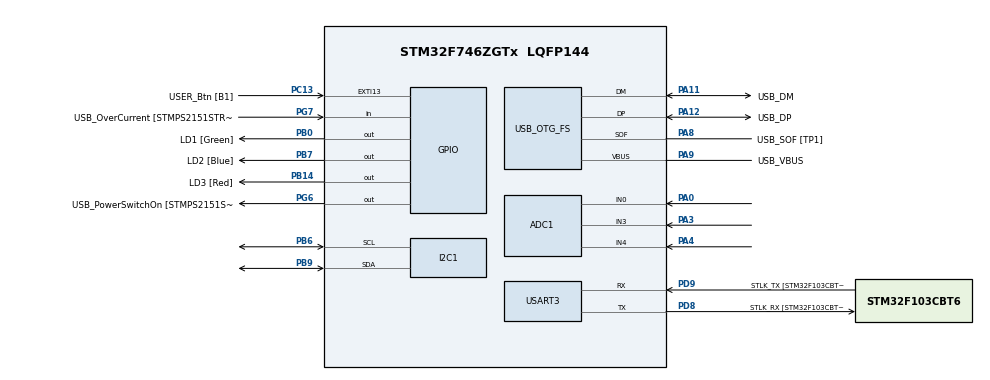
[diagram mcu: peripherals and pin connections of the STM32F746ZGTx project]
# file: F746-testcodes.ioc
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ADC1.Channel-0\#ChannelRegularConversion=ADC_CHANNEL_0
ADC1.Channel-1\#ChannelRegularConversion=ADC_CHANNEL_3
ADC1.Channel-2\#ChannelRegularConversion=ADC_CHANNEL_4
ADC1.ContinuousConvMode=ENABLE
ADC1.DMAContinuousRequests=ENABLE
ADC1.NbrOfConversion=3
ADC1.NbrOfConversionFlag=1
ADC1.Rank-0\#ChannelRegularConversion=1
ADC1.Rank-1\#ChannelRegularConversion=2
ADC1.Rank-2\#ChannelRegularConversion=3
ADC1.SamplingTime-0\#ChannelRegularConversion=ADC_SAMPLETIME_144CYCLES
ADC1.SamplingTime-1\#ChannelRegularConversion=ADC_SAMPLETIME_144CYCLES
ADC1.SamplingTime-2\#ChannelRegularConversion=ADC_SAMPLETIME_144CYCLES
ADC1.master=1
Dma.ADC1.0.Direction=DMA_PERIPH_TO_MEMORY
Dma.ADC1.0.FIFOMode=DMA_FIFOMODE_DISABLE
Dma.ADC1.0.Instance=DMA2_Stream0
Dma.ADC1.0.MemDataAlignment=DMA_MDATAALIGN_HALFWORD
Dma.ADC1.0.MemInc=DMA_MINC_ENABLE
Dma.ADC1.0.Mode=DMA_CIRCULAR
Dma.ADC1.0.PeriphDataAlignment=DMA_PDATAALIGN_HALFWORD
Dma.ADC1.0.PeriphInc=DMA_PINC_DISABLE
Dma.ADC1.0.Priority=DMA_PRIORITY_LOW
Dma.Request0=ADC1
I2C1.Timing=0x00808CD2
Mcu.Family=STM32F7
Mcu.Name=STM32F746ZGTx
Mcu.Package=LQFP144
NVIC.DMA2_Stream0_IRQn=true\:0\:0\:false\:false\:true\:false\:true\:true
NVIC.PriorityGroup=NVIC_PRIORITYGROUP_4
PA0/WKUP.Signal=ADCx_IN0
PA1.GPIO_Label=RMII_REF_CLK [LAN8742A-CZ-TR_REFCLK0]
PA1.Signal=ETH_REF_CLK
PA10.GPIO_Label=USB_ID
PA10.Signal=USB_OTG_FS_ID
PA11.GPIO_Label=USB_DM
PA11.Mode=Device_Only
PA11.Signal=USB_OTG_FS_DM
PA12.GPIO_Label=USB_DP
PA12.Mode=Device_Only
PA12.Signal=USB_OTG_FS_DP
PA13.GPIO_Label=TMS
PA13.Mode=Serial_Wire
PA13.Signal=SYS_JTMS-SWDIO
PA14.GPIO_Label=TCK
PA14.Mode=Serial_Wire
PA14.Signal=SYS_JTCK-SWCLK
PA2.GPIO_Label=RMII_MDIO [LAN8742A-CZ-TR_MDIO]
PA2.Signal=ETH_MDIO
PA3.Signal=ADCx_IN3
PA4.Signal=ADCx_IN4
PA7.GPIO_Label=RMII_CRS_DV [LAN8742A-CZ-TR_CRS_DV]
PA7.Signal=ETH_CRS_DV
PA8.GPIO_Label=USB_SOF [TP1]
PA8.Mode=Activate_SOF_FS
PA8.Signal=USB_OTG_FS_SOF
PA9.GPIO_Label=USB_VBUS
PA9.Mode=Activate_VBUS
PA9.Signal=USB_OTG_FS_VBUS
PB0.GPIO_Label=LD1 [Green]
PB0.Signal=GPIO_Output
PB13.GPIO_Label=RMII_TXD1 [LAN8742A-CZ-TR_TXD1]
PB13.Signal=ETH_TXD1
PB14.GPIO_Label=LD3 [Red]
PB14.Signal=GPIO_Output
PB3.GPIO_Label=SW0
PB3.Signal=SYS_JTDO-SWO
PB6.Mode=I2C
PB6.Signal=I2C1_SCL
PB7.GPIO_Label=LD2 [Blue]
PB7.Signal=GPIO_Output
PB9.Mode=I2C
PB9.Signal=I2C1_SDA
PC1.GPIO_Label=RMII_MDC [LAN8742A-CZ-TR_MDC]
PC1.Signal=ETH_MDC
PC13.GPIO_Label=USER_Btn [B1]
PC13.Signal=GPXTI13
PC14/OSC32_IN.Mode=LSE-External-Oscillator
PC14/OSC32_IN.Signal=RCC_OSC32_IN
PC15/OSC32_OUT.Mode=LSE-External-Oscillator
PC15/OSC32_OUT.Signal=RCC_OSC32_OUT
PC4.GPIO_Label=RMII_RXD0 [LAN8742A-CZ-TR_RXD0]
PC4.Signal=ETH_RXD0
PC5.GPIO_Label=RMII_RXD1 [LAN8742A-CZ-TR_RXD1]
PC5.Signal=ETH_RXD1
PD8.GPIO_Label=STLK_RX [STM32F103CBT6_PA3]
PD8.Mode=Asynchronous
PD8.Signal=USART3_TX
PD9.GPIO_Label=STLK_TX [STM32F103CBT6_PA2]
PD9.Mode=Asynchronous
PD9.Signal=USART3_RX
PG11.GPIO_Label=RMII_TX_EN [LAN8742A-CZ-TR_TXEN]
PG11.Signal=ETH_TX_EN
PG13.GPIO_Label=RMII_TXD0 [LAN8742A-CZ-TR_TXD0]
PG13.Signal=ETH_TXD0
PG6.GPIO_Label=USB_PowerSwitchOn [STMPS2151STR_EN]
PG6.Signal=GPIO_Output
PG7.GPIO_Label=USB_OverCurrent [STMPS2151STR_FAULT]
PG7.Signal=GPIO_Input
PH0/OSC_IN.GPIO_Label=MCO [STM32F103CBT6_PA8]
PH0/OSC_IN.Mode=HSE-External-Clock-Source
PH0/OSC_IN.Signal=RCC_OSC_IN
PH1/OSC_OUT.Mode=HSE-External-Clock-Source
PH1/OSC_OUT.Signal=RCC_OSC_OUT
ProjectManager.HeapSize=0x200
ProjectManager.StackSize=0x400
ProjectManager.TargetToolchain=Makefile
RCC.48MHZClocksFreq_Value=24000000
RCC.AHBFreq_Value=72000000
RCC.APB1CLKDivider=RCC_HCLK_DIV2
RCC.APB1Freq_Value=36000000
RCC.APB1TimFreq_Value=72000000
RCC.APB2Freq_Value=72000000
RCC.APB2TimFreq_Value=72000000
RCC.CortexFreq_Value=72000000
RCC.HCLKFreq_Value=72000000
RCC.HSE_VALUE=8000000
RCC.HSI_VALUE=16000000
RCC.PLLM=4
RCC.PLLMUL=RCC_PLL_MUL9
RCC.PLLN=72
RCC.PLLQ=3
RCC.PRESCALERUSB=RCC_USBCLKSOURCE_PLL_DIV1_5
RCC.SYSCLKFreq_VALUE=72000000
RCC.SYSCLKSource=RCC_SYSCLKSOURCE_PLLCLK
RCC.SYSCLKSourceVirtual=RCC_SYSCLKSOURCE_PLLCLK
RCC.USBFreq_Value=48000000
RCC.VCOOutputFreq_Value=144000000
SH.ADCx_IN0.0=ADC1_IN0,IN0
SH.ADCx_IN3.0=ADC1_IN3,IN3
SH.ADCx_IN4.0=ADC1_IN4,IN4
USART3.VirtualMode-Asynchronous=VM_ASYNC
USB_OTG_FS.VirtualMode=Device_Only
board=NUCLEO-F746ZG

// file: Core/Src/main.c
/* USER CODE BEGIN Header */
/**
 ******************************************************************************
 * @file           : main.c
 * @brief          : Main program body
 ******************************************************************************
 * @attention
 *
 * Copyright (c) 2022 STMicroelectronics.
 * All rights reserved.
 *
 * This software is licensed under terms that can be found in the LICENSE file
 * in the root directory of this software component.
 * If no LICENSE file comes with this software, it is provided AS-IS.
 *
 ******************************************************************************
 */
/* USER CODE END Header */
#include "main.h"
#include "adc.h"
#include "dma.h"
#include "i2c.h"
#include "usart.h"
#include "usb_otg.h"
#include "gpio.h"

/* USER CODE BEGIN Includes */
#include "cocktail.h"
#include "adc_builtin.h"
#include "temp_sensor.h"
/* USER CODE END Includes */

void SystemClock_Config(void);

int
main(void)
{

    /* MCU
     * Configuration--------------------------------------------------------*/

    /* Reset of all peripherals, Initializes the Flash interface and the
     * Systick. */
    HAL_Init();

    /* Configure the system clock */
    SystemClock_Config();

    /* Initialize all configured peripherals */
    MX_GPIO_Init();
    MX_DMA_Init();
    MX_ADC1_Init();
    MX_USART3_UART_Init();
    MX_USB_OTG_FS_PCD_Init();
    MX_I2C1_Init();
    /* USER CODE BEGIN 2 */
    Cocktail_Init();

    ADCBuiltIn_initChannel(&hadc1, 3);
    uint16_t *c[3];
    c[0]                           = ADCBuiltIn_getRankAddress(&hadc1, 0);
    c[1]                           = ADCBuiltIn_getRankAddress(&hadc1, 1);
    c[2]                           = ADCBuiltIn_getRankAddress(&hadc1, 2);

    TempProbe_InitTypeDef ts_Init  = { .interval = 1000.0,
                                       .probe    = getNTCprobe(100000.0, 3950.0),
                                       .probe_type = NTC_PROBE };

    ResSensor_InitTypeDef ntc_Init = {
        .R_ref       = 10000.0,
        .adc_max     = 4096.0,
        .adc_raw     = (uint32_t *)ADCBuiltIn_getRankAddress(&hadc1, 1),
        .conf        = RES_SENSOR_UPSTREAM,
        .interval    = 200,
        .update_rate = 0.2
    };

    TempSensor_TypeDef *sensor = TempSensor_Init(ts_Init, ntc_Init);

    // uint16_t array[16];
    // HAL_ADC_Start_DMA(&hadc1, (uint32_t *)array, 3);
    /* USER CODE END 2 */

    /* Infinite loop */
    /* USER CODE BEGIN WHILE */
    while(1)
    {
        Cocktail_Run();
        /* USER CODE END WHILE */

    }
}

void
SystemClock_Config(void)
{
    RCC_OscInitTypeDef RCC_OscInitStruct = { 0 };
    RCC_ClkInitTypeDef RCC_ClkInitStruct = { 0 };

    /** Configure LSE Drive Capability
     */
    HAL_PWR_EnableBkUpAccess();

    /** Configure the main internal regulator output voltage
     */
    __HAL_RCC_PWR_CLK_ENABLE();
    __HAL_PWR_VOLTAGESCALING_CONFIG(PWR_REGULATOR_VOLTAGE_SCALE3);

    /** Initializes the RCC Oscillators according to the specified parameters
     * in the RCC_OscInitTypeDef structure.
     */
    RCC_OscInitStruct.OscillatorType = RCC_OSCILLATORTYPE_HSE;
    RCC_OscInitStruct.HSEState       = RCC_HSE_BYPASS;
    RCC_OscInitStruct.PLL.PLLState   = RCC_PLL_ON;
    RCC_OscInitStruct.PLL.PLLSource  = RCC_PLLSOURCE_HSE;
    RCC_OscInitStruct.PLL.PLLM       = 4;
    RCC_OscInitStruct.PLL.PLLN       = 72;
    RCC_OscInitStruct.PLL.PLLP       = RCC_PLLP_DIV2;
    RCC_OscInitStruct.PLL.PLLQ       = 3;
    if(HAL_RCC_OscConfig(&RCC_OscInitStruct) != HAL_OK) { Error_Handler(); }

    /** Initializes the CPU, AHB and APB buses clocks
     */
    RCC_ClkInitStruct.ClockType = RCC_CLOCKTYPE_HCLK | RCC_CLOCKTYPE_SYSCLK |
                                  RCC_CLOCKTYPE_PCLK1 | RCC_CLOCKTYPE_PCLK2;
    RCC_ClkInitStruct.SYSCLKSource   = RCC_SYSCLKSOURCE_PLLCLK;
    RCC_ClkInitStruct.AHBCLKDivider  = RCC_SYSCLK_DIV1;
    RCC_ClkInitStruct.APB1CLKDivider = RCC_HCLK_DIV2;
    RCC_ClkInitStruct.APB2CLKDivider = RCC_HCLK_DIV1;

    if(HAL_RCC_ClockConfig(&RCC_ClkInitStruct, FLASH_LATENCY_2) != HAL_OK)
    {
        Error_Handler();
    }
}

void
Error_Handler(void)
{
    /* USER CODE BEGIN Error_Handler_Debug */
    /* User can add his own implementation to report the HAL error return state
     */
    __disable_irq();
    while(1) {}
    /* USER CODE END Error_Handler_Debug */
}

#ifdef USE_FULL_ASSERT
/**
 * @brief  Reports the name of the source file and the source line number
 *         where the assert_param error has occurred.
 * @param  file: pointer to the source file name
 * @param  line: assert_param error line source number
 * @retval None
 */
void
assert_failed(uint8_t *file, uint32_t line)
{
    /* USER CODE BEGIN 6 */
    /* User can add his own implementation to report the file name and line
       number, ex: printf("Wrong parameters value: file %s on line %d\r\n",
       file, line) */
    /* USER CODE END 6 */
}
#endif /* USE_FULL_ASSERT */
